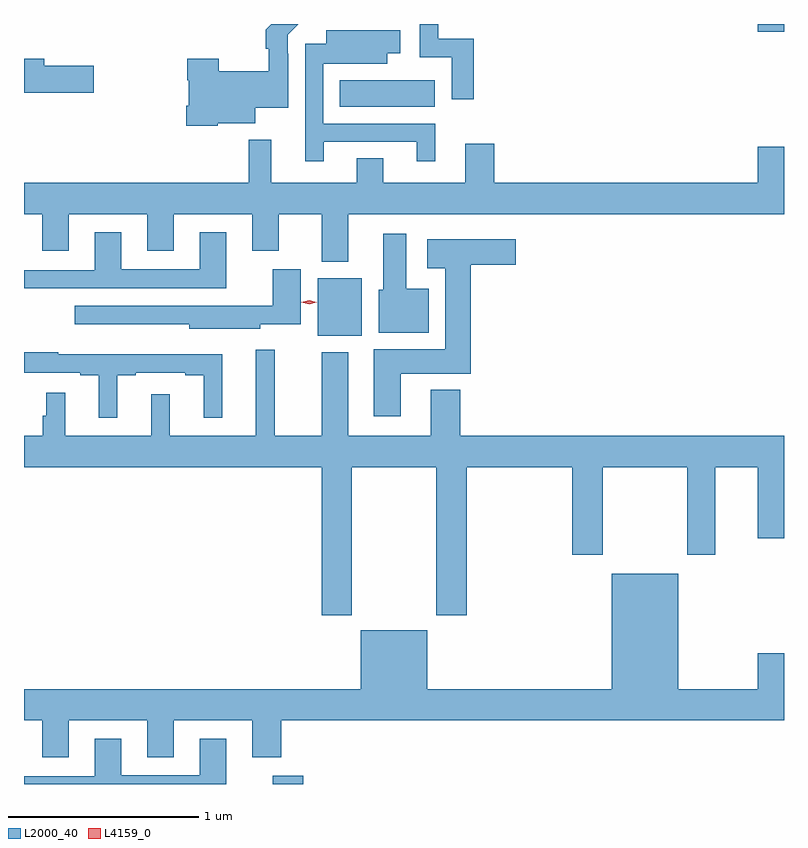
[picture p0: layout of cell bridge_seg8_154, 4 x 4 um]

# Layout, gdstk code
import gdstk
lib = gdstk.Library(unit=1e-6, precision=1e-09)
def R(c, l, rs):  # rectangles x0, y0, x1, y1
    for r in rs: c.add(gdstk.rectangle(r[:2], r[2:], *l))
def P(c, l, *ps):  # polygons
    for p in ps: c.add(gdstk.Polygon(p, *l))
L2000_40 = (2000, 40)
L4159_0 = (4159, 0)

bridge_seg8_154 = lib.new_cell('bridge_seg8_154')
R(bridge_seg8_154, L2000_40, [(582.035,1149.464,582.197,1149.508), (582.272,1151.822,582.505,1152.127), (582.388,1153.028,582.889,1153.168), (584.588,1153.422,584.727,1153.464)])
P(bridge_seg8_154, L2000_40, [(583.094,1153.386),(582.907,1153.386),(582.907,1153.464),(582.81,1153.464),(582.81,1153.29),(582.978,1153.29),(582.978,1153.068),(583.094,1153.068)],
  [(581.748,1152.941),(581.944,1152.941),(581.944,1153.022),(582.117,1153.022),(582.117,1153.307),(582.114,1153.307),(582.114,1153.407),(582.171,1153.464),(582.028,1153.464),(581.999,1153.435),(581.999,1153.334),(582.014,1153.334),(582.014,1153.216),(581.752,1153.216),(581.752,1153.282),(581.587,1153.282),(581.587,1153.169),(581.594,1153.169),(581.594,1153.033),(581.582,1153.033),(581.582,1152.929),(581.748,1152.929)],
  [(582.304,1152.843),(582.794,1152.843),(582.794,1152.741),(582.892,1152.741),(582.892,1152.939),(582.303,1152.939),(582.303,1153.256),(582.64,1153.256),(582.64,1153.31),(582.706,1153.31),(582.706,1153.432),(582.317,1153.432),(582.317,1153.359),(582.207,1153.359),(582.207,1152.741),(582.304,1152.741)],
  [(581.095,1153.244),(580.834,1153.244),(580.834,1153.28),(580.727,1153.28),(580.727,1153.102),(581.095,1153.102)],
  [(582.433,1152.464),(584.727,1152.464),(584.727,1152.817),(584.588,1152.817),(584.588,1152.628),(583.202,1152.628),(583.202,1152.835),(583.049,1152.835),(583.049,1152.628),(582.619,1152.628),(582.619,1152.758),(582.479,1152.758),(582.479,1152.628),(582.029,1152.628),(582.029,1152.856),(581.911,1152.856),(581.911,1152.628),(580.727,1152.628),(580.727,1152.464),(580.823,1152.464),(580.823,1152.27),(580.963,1152.27),(580.963,1152.464),(581.375,1152.464),(581.375,1152.27),(581.515,1152.27),(581.515,1152.464),(581.927,1152.464),(581.927,1152.27),(582.067,1152.27),(582.067,1152.464),(582.293,1152.464),(582.293,1152.212),(582.433,1152.212)],
  [(581.791,1152.367),(581.651,1152.367),(581.651,1152.173),(581.239,1152.173),(581.239,1152.367),(581.099,1152.367),(581.099,1152.168),(580.727,1152.168),(580.727,1152.072),(581.791,1152.072)],
  [(582.856,1152.07),(582.739,1152.07),(582.739,1152.361),(582.617,1152.361),(582.617,1152.066),(582.593,1152.066),(582.593,1151.84),(582.856,1151.84)],
  [(582.709,1151.624),(583.079,1151.624),(583.079,1152.197),(583.315,1152.197),(583.315,1152.331),(582.849,1152.331),(582.849,1152.179),(582.944,1152.179),(582.944,1151.752),(582.569,1151.752),(582.569,1151.4),(582.709,1151.4)],
  [(581.97,1151.885),(582.184,1151.885),(582.184,1152.172),(582.035,1152.172),(582.035,1151.982),(580.995,1151.982),(580.995,1151.885),(581.598,1151.885),(581.598,1151.861),(581.97,1151.861)],
  [(582.453,1151.132),(582.898,1151.132),(582.898,1150.353),(583.058,1150.353),(583.058,1151.132),(583.613,1151.132),(583.613,1150.671),(583.773,1150.671),(583.773,1151.132),(584.218,1151.132),(584.218,1150.671),(584.365,1150.671),(584.365,1151.132),(584.588,1151.132),(584.588,1150.758),(584.727,1150.758),(584.727,1151.296),(583.022,1151.296),(583.022,1151.539),(582.869,1151.539),(582.869,1151.296),(582.433,1151.296),(582.433,1151.737),(582.293,1151.737),(582.293,1151.296),(582.048,1151.296),(582.048,1151.749),(581.948,1151.749),(581.948,1151.296),(581.495,1151.296),(581.495,1151.515),(581.396,1151.515),(581.396,1151.296),(580.943,1151.296),(580.943,1151.524),(580.844,1151.524),(580.844,1151.402),(580.825,1151.402),(580.825,1151.296),(580.727,1151.296),(580.727,1151.132),(582.293,1151.132),(582.293,1150.353),(582.453,1150.353)],
  [(581.219,1151.616),(581.314,1151.616),(581.314,1151.628),(581.576,1151.628),(581.576,1151.616),(581.672,1151.616),(581.672,1151.391),(581.771,1151.391),(581.771,1151.725),(580.907,1151.725),(580.907,1151.737),(580.727,1151.737),(580.727,1151.628),(581.024,1151.628),(581.024,1151.616),(581.12,1151.616),(581.12,1151.391),(581.219,1151.391)],
  [(580.963,1149.8),(581.375,1149.8),(581.375,1149.606),(581.515,1149.606),(581.515,1149.8),(581.927,1149.8),(581.927,1149.606),(582.08,1149.606),(582.08,1149.8),(584.727,1149.8),(584.727,1150.153),(584.588,1150.153),(584.588,1149.964),(584.17,1149.964),(584.17,1150.57),(583.82,1150.57),(583.82,1149.964),(582.85,1149.964),(582.85,1150.273),(582.5,1150.273),(582.5,1149.964),(580.727,1149.964),(580.727,1149.8),(580.823,1149.8),(580.823,1149.606),(580.963,1149.606)],
  [(581.791,1149.703),(581.651,1149.703),(581.651,1149.509),(581.239,1149.509),(581.239,1149.703),(581.099,1149.703),(581.099,1149.504),(580.727,1149.504),(580.727,1149.464),(581.791,1149.464)])
P(bridge_seg8_154, L4159_0, [(582.227,1151.989),(582.187,1151.999),(582.187,1151.999),(582.187,1151.999),(582.227,1152.009),(582.267,1151.999),(582.267,1151.999),(582.267,1151.999)])

lib.write_gds('bridge_seg8_154.gds')
